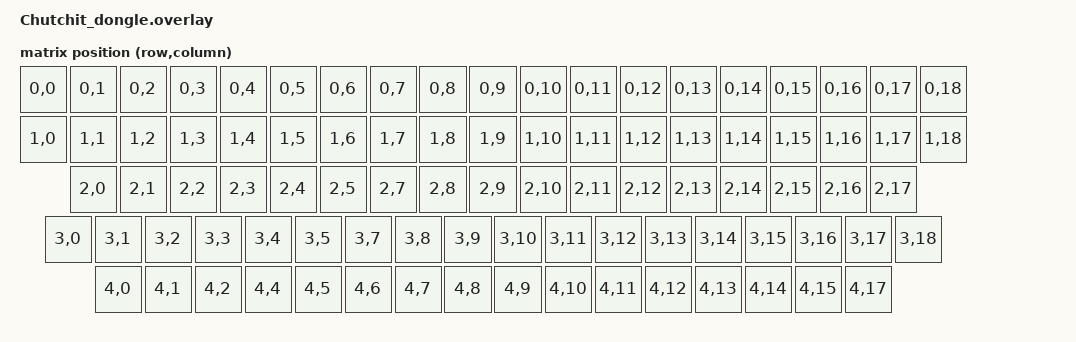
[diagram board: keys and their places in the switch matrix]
/*
 * VU.A 2.0 Dongle Overlay
 * Custom nRF52840 PCB (eyeslash-corne-dongle based) acting as 2.4G PRX receiver.
 *
 * Hardware:
 *   - SH1106 OLED display  (I2C0: SDA P0.17, SCL P0.20)
 *   - WS2812 RGB underglow (SPI3: MOSI P1.12)
 *   - PWM backlight        (PWM0: P1.13)
 *   - EXT_POWER            (P0.13)
 *
 * The matrix transform mirrors Chutchit.keymap dimensions so it compiles
 * cleanly. The kscan-mock means no real keys are scanned — HID reports
 * arrive over 2.4G and go directly to USB.
 */

#include <dt-bindings/zmk/matrix_transform.h>
#include <dt-bindings/led/led.h>

/*
 * behaviors.dtsi unconditionally defines ug_battery nodes which compile
 * behavior_underglow_battery.c — that file calls zmk_battery_state_of_charge
 * which is undefined on a USB-powered dongle with no battery sensor.
 * Disabling all four nodes makes DT_HAS_COMPAT_STATUS_OKAY return false
 * and the battery code is dropped from the build.
 */
&ug_b2 { status = "disabled"; };
&ug_b4 { status = "disabled"; };
&ug_b6 { status = "disabled"; };
&ug_b8 { status = "disabled"; };

/ {
    chosen {
        zmk,kscan = &mock_kscan;
        zmk,matrix_transform = &dongle_transform;
        zephyr,display = &oled;
        zmk,underglow = &led_strip;
        zmk,backlight = &backlight;
    };

    mock_kscan: mock_kscan {
        compatible = "zmk,kscan-mock";
        columns = <0>;
        rows = <0>;
        events = <0>;
    };

    dongle_transform: dongle_transform {
        compatible = "zmk,matrix-transform";
        columns = <19>;
        rows = <5>;
        map = <
RC(0,0)  RC(0,1)  RC(0,2)  RC(0,3)  RC(0,4)  RC(0,5)  RC(0,6)  RC(0,7)  RC(0,8)  RC(0,9)  RC(0,10) RC(0,11) RC(0,12) RC(0,13) RC(0,14) RC(0,15) RC(0,16) RC(0,17) RC(0,18)
RC(1,0)  RC(1,1)  RC(1,2)  RC(1,3)  RC(1,4)  RC(1,5)  RC(1,6)  RC(1,7)  RC(1,8)  RC(1,9)  RC(1,10) RC(1,11) RC(1,12) RC(1,13) RC(1,14) RC(1,15) RC(1,16) RC(1,17) RC(1,18)
RC(2,0)  RC(2,1)  RC(2,2)  RC(2,3)  RC(2,4)  RC(2,5)                     RC(2,7)  RC(2,8)  RC(2,9)  RC(2,10) RC(2,11) RC(2,12) RC(2,13) RC(2,14) RC(2,15) RC(2,16) RC(2,17)
RC(3,0)  RC(3,1)  RC(3,2)  RC(3,3)  RC(3,4)  RC(3,5)                     RC(3,7)  RC(3,8)  RC(3,9)  RC(3,10) RC(3,11) RC(3,12) RC(3,13) RC(3,14) RC(3,15) RC(3,16) RC(3,17) RC(3,18)
RC(4,0)  RC(4,1)  RC(4,2)                     RC(4,4)  RC(4,5)  RC(4,6)  RC(4,7)  RC(4,8)  RC(4,9)  RC(4,10) RC(4,11) RC(4,12) RC(4,13) RC(4,14) RC(4,15)                    RC(4,17)
        >;
    };

    backlight: pwmleds {
        compatible = "pwm-leds";
        pwm_led_0 {
            pwms = <&pwm0 0 PWM_MSEC(1) PWM_POLARITY_NORMAL>;
        };
    };

    EXT_POWER {
        compatible = "zmk,ext-power-generic";
        control-gpios = <&gpio0 13 GPIO_ACTIVE_HIGH>;
        init-delay-ms = <50>;
    };
};

&pinctrl {
    i2c0_default: i2c0_default {
        group1 {
            psels = <NRF_PSEL(TWIM_SDA, 0, 17)>,
                    <NRF_PSEL(TWIM_SCL, 0, 20)>;
        };
    };
    i2c0_sleep: i2c0_sleep {
        group1 {
            psels = <NRF_PSEL(TWIM_SDA, 0, 17)>,
                    <NRF_PSEL(TWIM_SCL, 0, 20)>;
            low-power-enable;
        };
    };
    spi3_default: spi3_default {
        group1 {
            psels = <NRF_PSEL(SPIM_MOSI, 1, 12)>;
        };
    };
    spi3_sleep: spi3_sleep {
        group1 {
            psels = <NRF_PSEL(SPIM_MOSI, 1, 12)>;
            low-power-enable;
        };
    };
    pwm0_default: pwm0_default {
        group1 {
            psels = <NRF_PSEL(PWM_OUT0, 1, 13)>;
        };
    };
    pwm0_sleep: pwm0_sleep {
        group1 {
            psels = <NRF_PSEL(PWM_OUT0, 1, 13)>;
            low-power-enable;
        };
    };
};

&i2c0 {
    status = "okay";
    compatible = "nordic,nrf-twi";
    pinctrl-0 = <&i2c0_default>;
    pinctrl-1 = <&i2c0_sleep>;
    pinctrl-names = "default", "sleep";

    oled: sh1106@3c {
        compatible = "sinowealth,sh1106";
        reg = <0x3c>;
        width = <129>;
        height = <64>;
        segment-offset = <1>;
        page-offset = <0>;
        display-offset = <0>;
        multiplex-ratio = <63>;
        segment-remap;
        com-invdir;
        inversion-on;
        prechargep = <0x22>;
    };
};

&spi3 {
    compatible = "nordic,nrf-spim";
    status = "okay";
    pinctrl-0 = <&spi3_default>;
    pinctrl-1 = <&spi3_sleep>;
    pinctrl-names = "default", "sleep";

    led_strip: ws2812@0 {
        compatible = "worldsemi,ws2812-spi";
        reg = <0>;
        spi-max-frequency = <4000000>;
        chain-length = <7>; /* eyeslash reference count */
        spi-one-frame = <0x70>;
        spi-zero-frame = <0x40>;
        color-mapping = <LED_COLOR_ID_GREEN
                         LED_COLOR_ID_RED
                         LED_COLOR_ID_BLUE>;
    };
};

&pwm0 {
    status = "okay";
    pinctrl-0 = <&pwm0_default>;
    pinctrl-1 = <&pwm0_sleep>;
    pinctrl-names = "default", "sleep";
};
